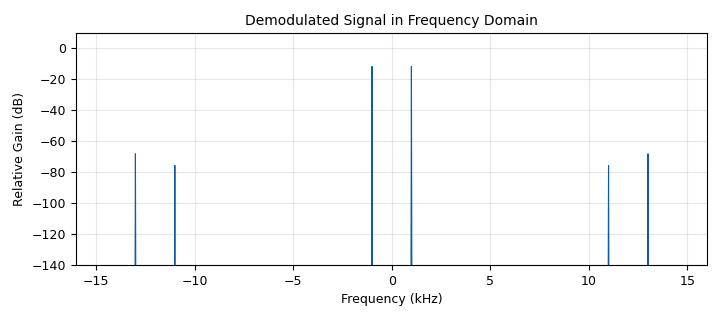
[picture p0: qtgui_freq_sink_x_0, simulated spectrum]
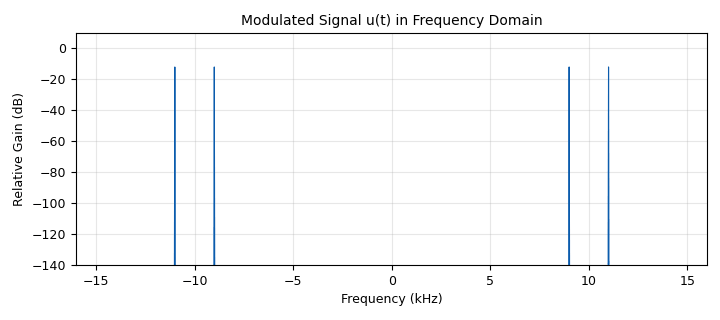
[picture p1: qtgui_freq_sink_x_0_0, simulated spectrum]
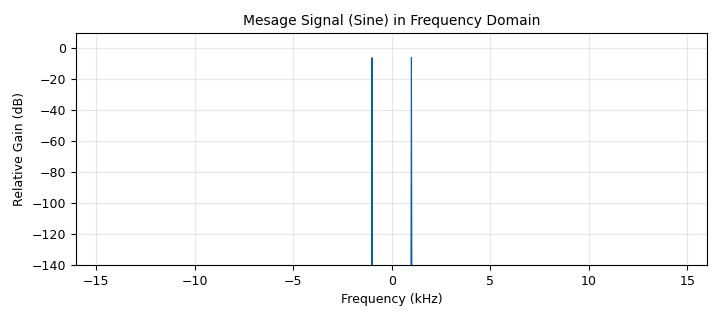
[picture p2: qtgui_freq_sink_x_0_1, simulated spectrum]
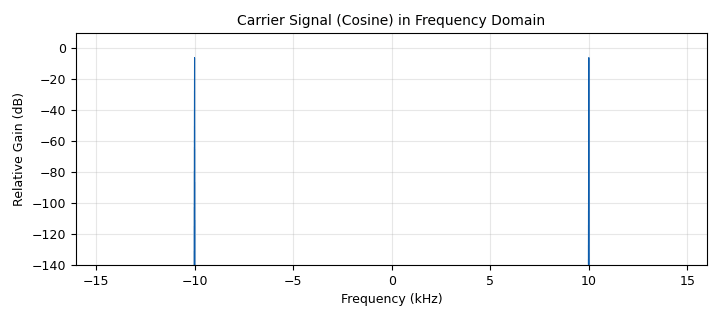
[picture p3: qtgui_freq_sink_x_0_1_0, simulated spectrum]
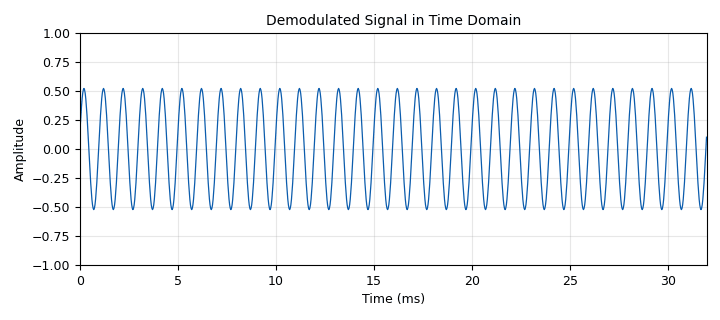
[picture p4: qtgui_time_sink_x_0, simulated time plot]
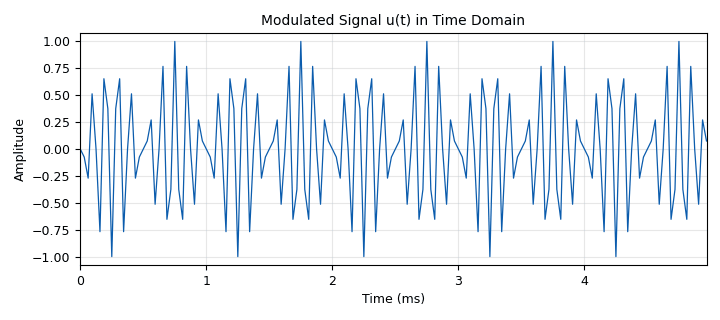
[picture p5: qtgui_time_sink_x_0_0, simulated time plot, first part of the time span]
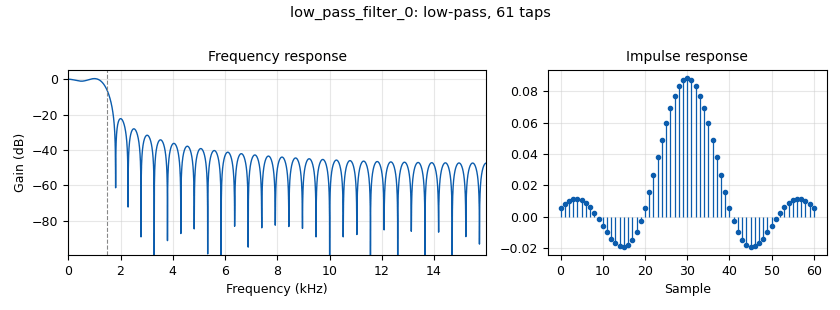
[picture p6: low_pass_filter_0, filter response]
options:
  parameters:
    generate_options: qt_gui
    id: Double_Sideband_AM
    output_language: python
    title: Not titled yet
  states: {}

blocks:
- name: samp_rate
  id: variable
  parameters:
    value: '32000'
  states: {}
- name: analog_sig_source_x_0
  id: analog_sig_source_x
  parameters:
    amp: '1'
    freq: '1000'
    offset: '0'
    phase: '0'
    samp_rate: samp_rate
    type: float
    waveform: analog.GR_SIN_WAVE
  states: {}
- name: analog_sig_source_x_0_0
  id: analog_sig_source_x
  parameters:
    amp: '1'
    freq: '10000'
    offset: '0'
    phase: '0'
    samp_rate: samp_rate
    type: float
    waveform: analog.GR_COS_WAVE
  states: {}
- name: blocks_multiply_xx_0
  id: blocks_multiply_xx
  parameters:
    type: float
  states: {}
- name: blocks_multiply_xx_0_0
  id: blocks_multiply_xx
  parameters:
    type: float
  states: {}
- name: blocks_throttle_0
  id: blocks_throttle
  parameters:
    samples_per_second: samp_rate
    type: float
  states: {}
- name: blocks_throttle_0_0
  id: blocks_throttle
  parameters:
    samples_per_second: samp_rate
    type: float
  states: {}
- name: low_pass_filter_0
  id: low_pass_filter
  parameters:
    cutoff_freq: '1500'
    decim: '1'
    gain: '1'
    samp_rate: samp_rate
    type: fir_filter_fff
    width: '500'
    win: window.WIN_RECTANGULAR
  states: {}
- name: qtgui_freq_sink_x_0
  id: qtgui_freq_sink_x
  parameters:
    bw: samp_rate
    fc: '0'
    fftsize: '1024'
    name: Demodulated Signal in Frequency Domain
    type: float
    wintype: window.WIN_RECTANGULAR
  states: {}
- name: qtgui_freq_sink_x_0_0
  id: qtgui_freq_sink_x
  parameters:
    bw: samp_rate
    fc: '0'
    fftsize: '1024'
    name: Modulated Signal u(t) in Frequency Domain
    type: float
    wintype: window.WIN_RECTANGULAR
  states: {}
- name: qtgui_freq_sink_x_0_1
  id: qtgui_freq_sink_x
  parameters:
    bw: samp_rate
    fc: '0'
    fftsize: '1024'
    name: Mesage Signal (Sine) in Frequency Domain
    type: float
    wintype: window.WIN_RECTANGULAR
  states: {}
- name: qtgui_freq_sink_x_0_1_0
  id: qtgui_freq_sink_x
  parameters:
    bw: samp_rate
    fc: '0'
    fftsize: '1024'
    name: Carrier Signal (Cosine) in Frequency Domain
    type: float
    wintype: window.WIN_RECTANGULAR
  states: {}
- name: qtgui_time_sink_x_0
  id: qtgui_time_sink_x
  parameters:
    name: Demodulated Signal in Time Domain
    size: '1024'
    srate: samp_rate
    type: float
    yunit: Volts
  states: {}
- name: qtgui_time_sink_x_0_0
  id: qtgui_time_sink_x
  parameters:
    name: Modulated Signal u(t) in Time Domain
    size: '1024'
    srate: samp_rate
    type: float
    yunit: Volts
  states: {}
- name: qtgui_time_sink_x_0_1
  id: qtgui_time_sink_x
  parameters:
    name: Mesage Signal (Sine) in Time Domain
    size: '1024'
    srate: samp_rate
    type: float
    yunit: Volts
  states: {}
- name: qtgui_time_sink_x_0_1_0
  id: qtgui_time_sink_x
  parameters:
    autoscale: 'True'
    grid: 'True'
    name: Carrier Signal (Cosine) in Time Domain
    size: '1024'
    srate: '10000'
    type: float
    yunit: Volts
  states: {}

connections:
- [analog_sig_source_x_0, '0', blocks_throttle_0, '0']
- [analog_sig_source_x_0_0, '0', blocks_throttle_0_0, '0']
- [blocks_multiply_xx_0, '0', blocks_multiply_xx_0_0, '0']
- [blocks_multiply_xx_0, '0', qtgui_freq_sink_x_0_0, '0']
- [blocks_multiply_xx_0, '0', qtgui_time_sink_x_0_0, '0']
- [blocks_multiply_xx_0_0, '0', low_pass_filter_0, '0']
- [blocks_throttle_0, '0', blocks_multiply_xx_0, '0']
- [blocks_throttle_0, '0', qtgui_freq_sink_x_0_1, '0']
- [blocks_throttle_0, '0', qtgui_time_sink_x_0_1, '0']
- [blocks_throttle_0_0, '0', blocks_multiply_xx_0, '1']
- [blocks_throttle_0_0, '0', blocks_multiply_xx_0_0, '1']
- [blocks_throttle_0_0, '0', qtgui_freq_sink_x_0_1_0, '0']
- [blocks_throttle_0_0, '0', qtgui_time_sink_x_0_1_0, '0']
- [low_pass_filter_0, '0', qtgui_freq_sink_x_0, '0']
- [low_pass_filter_0, '0', qtgui_time_sink_x_0, '0']

metadata:
  file_format: 1
  grc_version: 3.10.2.0
